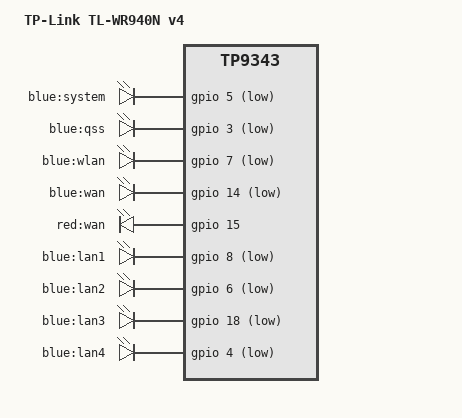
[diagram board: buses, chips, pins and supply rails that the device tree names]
// SPDX-License-Identifier: GPL-2.0-or-later OR MIT

#include "tp9343_tplink_tl-wr94x.dtsi"

/ {
	compatible = "tplink,tl-wr940n-v4", "qca,tp9343";
	model = "TP-Link TL-WR940N v4";

	aliases {
		led-boot = &led_system;
		led-failsafe = &led_system;
		led-running = &led_system;
		led-upgrade = &led_system;
	};

	leds {
		compatible = "gpio-leds";

		led_system: system {
			label = "blue:system";
			gpios = <&gpio 5 GPIO_ACTIVE_LOW>;
			default-state = "on";
		};

		qss {
			label = "blue:qss";
			gpios = <&gpio 3 GPIO_ACTIVE_LOW>;
		};

		wlan {
			label = "blue:wlan";
			gpios = <&gpio 7 GPIO_ACTIVE_LOW>;
			linux,default-trigger = "phy0tpt";
		};

		wan_blue {
			label = "blue:wan";
			gpios = <&gpio 14 GPIO_ACTIVE_LOW>;
		};

		wan_red {
			label = "red:wan";
			gpios = <&gpio 15 GPIO_ACTIVE_HIGH>;
		};

		lan1 {
			label = "blue:lan1";
			gpios = <&gpio 8 GPIO_ACTIVE_LOW>;
		};

		lan2 {
			label = "blue:lan2";
			gpios = <&gpio 6 GPIO_ACTIVE_LOW>;
		};

		lan3 {
			label = "blue:lan3";
			gpios = <&gpio 18 GPIO_ACTIVE_LOW>;
		};

		lan4 {
			label = "blue:lan4";
			gpios = <&gpio 4 GPIO_ACTIVE_LOW>;
		};
	};
};

&eth1 {
	nvmem-cells = <&macaddr_uboot_1fc00>;
	nvmem-cell-names = "mac-address";
};
